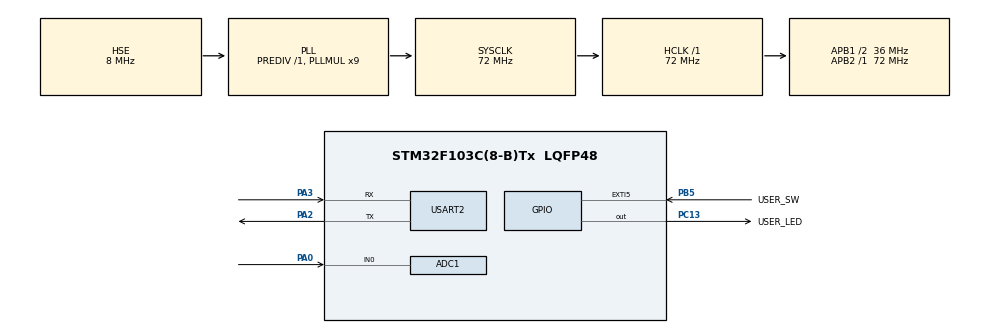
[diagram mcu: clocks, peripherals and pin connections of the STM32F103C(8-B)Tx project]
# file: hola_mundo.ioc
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ADC1.Channel-0\#ChannelRegularConversion=ADC_CHANNEL_0
ADC1.Channel-1\#ChannelRegularConversion=ADC_CHANNEL_TEMPSENSOR
ADC1.ContinuousConvMode=DISABLE
ADC1.DataAlign=ADC_DATAALIGN_RIGHT
ADC1.DiscontinuousConvMode=DISABLE
ADC1.EnableAnalogWatchDog=false
ADC1.EnableRegularConversion=ENABLE
ADC1.ExternalTrigConv=ADC_SOFTWARE_START
ADC1.InjNumberOfConversion=0
ADC1.NbrOfConversion=2
ADC1.NbrOfConversionFlag=1
ADC1.Rank-0\#ChannelRegularConversion=1
ADC1.Rank-1\#ChannelRegularConversion=2
ADC1.SamplingTime-0\#ChannelRegularConversion=ADC_SAMPLETIME_28CYCLES_5
ADC1.SamplingTime-1\#ChannelRegularConversion=ADC_SAMPLETIME_55CYCLES_5
ADC1.ScanConvMode=ADC_SCAN_ENABLE
ADC1.master=1
Dma.ADC1.0.Direction=DMA_PERIPH_TO_MEMORY
Dma.ADC1.0.Instance=DMA1_Channel1
Dma.ADC1.0.MemDataAlignment=DMA_MDATAALIGN_WORD
Dma.ADC1.0.MemInc=DMA_MINC_ENABLE
Dma.ADC1.0.Mode=DMA_NORMAL
Dma.ADC1.0.PeriphDataAlignment=DMA_PDATAALIGN_HALFWORD
Dma.ADC1.0.PeriphInc=DMA_PINC_DISABLE
Dma.ADC1.0.Priority=DMA_PRIORITY_LOW
Dma.Request0=ADC1
Mcu.Family=STM32F1
Mcu.Name=STM32F103C(8-B)Tx
Mcu.Package=LQFP48
NVIC.ADC1_2_IRQn=true\:0\:0\:false\:false\:true\:true
NVIC.DMA1_Channel1_IRQn=true\:0\:0\:false\:false\:true\:false
NVIC.EXTI9_5_IRQn=true\:0\:0\:false\:false\:true\:true
NVIC.PriorityGroup=NVIC_PRIORITYGROUP_4
PA0-WKUP.Signal=ADCx_IN0
PA13.Mode=Serial_Wire
PA13.Signal=SYS_JTMS-SWDIO
PA14.Mode=Serial_Wire
PA14.Signal=SYS_JTCK-SWCLK
PA2.Mode=Asynchronous
PA2.Signal=USART2_TX
PA3.Mode=Asynchronous
PA3.Signal=USART2_RX
PB5.GPIO_Label=USER_SW
PB5.GPIO_ModeDefaultEXTI=GPIO_MODE_IT_FALLING
PB5.GPIO_PuPd=GPIO_PULLDOWN
PB5.Signal=GPXTI5
PC13-TAMPER-RTC.GPIO_Label=USER_LED
PC13-TAMPER-RTC.GPIO_ModeDefaultOutputPP=GPIO_MODE_OUTPUT_PP
PC13-TAMPER-RTC.PinState=GPIO_PIN_RESET
PC13-TAMPER-RTC.Signal=GPIO_Output
PD0-OSC_IN.Mode=HSE-External-Oscillator
PD0-OSC_IN.Signal=RCC_OSC_IN
PD1-OSC_OUT.Mode=HSE-External-Oscillator
PD1-OSC_OUT.Signal=RCC_OSC_OUT
ProjectManager.HeapSize=0x200
ProjectManager.StackSize=0x400
ProjectManager.TargetToolchain=MDK-ARM V5
RCC.ADCPresc=RCC_ADCPCLK2_DIV6
RCC.AHBFreq_Value=72000000
RCC.APB1CLKDivider=RCC_HCLK_DIV2
RCC.APB1Freq_Value=36000000
RCC.APB1TimFreq_Value=72000000
RCC.APB2Freq_Value=72000000
RCC.APB2TimFreq_Value=72000000
RCC.HCLKFreq_Value=72000000
RCC.PLLMUL=RCC_PLL_MUL9
RCC.PLLSourceVirtual=RCC_PLLSOURCE_HSE
RCC.SYSCLKFreq_VALUE=72000000
RCC.SYSCLKSource=RCC_SYSCLKSOURCE_PLLCLK
RCC.USBFreq_Value=72000000
SH.ADCx_IN0.0=ADC1_IN0,IN0
USART2.VirtualMode=VM_ASYNC
VP_ADC1_TempSens_Input.Mode=IN-TempSens
board=hola_mundo

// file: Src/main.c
/**
  ******************************************************************************
  * File Name          : main.c
  * Description        : Main program body
  ******************************************************************************
  ** This notice applies to any and all portions of this file
  * that are not between comment pairs USER CODE BEGIN and
  * USER CODE END. Other portions of this file, whether
  * inserted by the user or by software development tools
  * are owned by their respective copyright owners.
  *
  * COPYRIGHT(c) 2017 STMicroelectronics
  *
  * Redistribution and use in source and binary forms, with or without modification,
  * are permitted provided that the following conditions are met:
  *   1. Redistributions of source code must retain the above copyright notice,
  *      this list of conditions and the following disclaimer.
  *   2. Redistributions in binary form must reproduce the above copyright notice,
  *      this list of conditions and the following disclaimer in the documentation
  *      and/or other materials provided with the distribution.
  *   3. Neither the name of STMicroelectronics nor the names of its contributors
  *      may be used to endorse or promote products derived from this software
  *      without specific prior written permission.
  *
  * THIS SOFTWARE IS PROVIDED BY THE COPYRIGHT HOLDERS AND CONTRIBUTORS "AS IS"
  * AND ANY EXPRESS OR IMPLIED WARRANTIES, INCLUDING, BUT NOT LIMITED TO, THE
  * IMPLIED WARRANTIES OF MERCHANTABILITY AND FITNESS FOR A PARTICULAR PURPOSE ARE
  * DISCLAIMED. IN NO EVENT SHALL THE COPYRIGHT HOLDER OR CONTRIBUTORS BE LIABLE
  * FOR ANY DIRECT, INDIRECT, INCIDENTAL, SPECIAL, EXEMPLARY, OR CONSEQUENTIAL
  * DAMAGES (INCLUDING, BUT NOT LIMITED TO, PROCUREMENT OF SUBSTITUTE GOODS OR
  * SERVICES; LOSS OF USE, DATA, OR PROFITS; OR BUSINESS INTERRUPTION) HOWEVER
  * CAUSED AND ON ANY THEORY OF LIABILITY, WHETHER IN CONTRACT, STRICT LIABILITY,
  * OR TORT (INCLUDING NEGLIGENCE OR OTHERWISE) ARISING IN ANY WAY OUT OF THE USE
  * OF THIS SOFTWARE, EVEN IF ADVISED OF THE POSSIBILITY OF SUCH DAMAGE.
  *
  ******************************************************************************
  */
#include "main.h"
#include "stm32f1xx_hal.h"
#include "adc.h"
#include "dma.h"
#include "usart.h"
#include "gpio.h"

/* USER CODE BEGIN PV */
/* Private variables ---------------------------------------------------------*/
// incluimos simbolos de otros archivos
extern ADC_HandleTypeDef hadc1;
extern UART_HandleTypeDef huart2;
uint32_t adc_raw[2];  // buffer para almacenar lecturas
uint32_t poten;
uint32_t temp;

volatile uint8_t flag = 0;
/* USER CODE END PV */

void SystemClock_Config(void);

/* USER CODE BEGIN PFP */
/* Private function prototypes -----------------------------------------------*/

/* USER CODE END PFP */

int main(void)
{

  /* USER CODE BEGIN 1 */
  GPIO_PinState anterior = 0;
  GPIO_PinState estado_led = 0;
  /* USER CODE END 1 */

  /* MCU Configuration----------------------------------------------------------*/

  /* Reset of all peripherals, Initializes the Flash interface and the Systick. */
  HAL_Init();

  /* Configure the system clock */
  SystemClock_Config();

  /* Initialize all configured peripherals */
  MX_GPIO_Init();
  MX_DMA_Init();
  MX_ADC1_Init();
  MX_USART2_UART_Init();

  /* Infinite loop */
  while (1)
  {

  /* USER CODE BEGIN 3 */

    HAL_ADC_Start_DMA(&hadc1, (uint32_t *)adc_raw, 2);// inicio el adc con DMA
    while(!flag)    // esperamos que termine la conversión
    {

    }
    HAL_ADC_Stop_DMA(&hadc1);   // detenemos el stream DMA
    flag = 0;                   // reseteamos flag
    poten = adc_raw[0];
    temp = adc_raw[1];
    HAL_UART_Transmit(&huart2, (uint8_t * )(poten >> 4), 1, 100);

    if(poten > 2048)
    {
      HAL_GPIO_WritePin(USER_LED_GPIO_Port, USER_LED_Pin, GPIO_PIN_SET);
    }
    else
    {
      HAL_GPIO_WritePin(USER_LED_GPIO_Port, USER_LED_Pin, GPIO_PIN_RESET);
    }
  }
  /* USER CODE END 3 */

}

/** System Clock Configuration
*/
void SystemClock_Config(void)
{

  RCC_OscInitTypeDef RCC_OscInitStruct;
  RCC_ClkInitTypeDef RCC_ClkInitStruct;
  RCC_PeriphCLKInitTypeDef PeriphClkInit;

    /**Initializes the CPU, AHB and APB busses clocks
    */
  RCC_OscInitStruct.OscillatorType = RCC_OSCILLATORTYPE_HSE;
  RCC_OscInitStruct.HSEState = RCC_HSE_ON;
  RCC_OscInitStruct.HSEPredivValue = RCC_HSE_PREDIV_DIV1;
  RCC_OscInitStruct.HSIState = RCC_HSI_ON;
  RCC_OscInitStruct.PLL.PLLState = RCC_PLL_ON;
  RCC_OscInitStruct.PLL.PLLSource = RCC_PLLSOURCE_HSE;
  RCC_OscInitStruct.PLL.PLLMUL = RCC_PLL_MUL9;
  if (HAL_RCC_OscConfig(&RCC_OscInitStruct) != HAL_OK)
  {
    _Error_Handler(__FILE__, __LINE__);
  }

    /**Initializes the CPU, AHB and APB busses clocks
    */
  RCC_ClkInitStruct.ClockType = RCC_CLOCKTYPE_HCLK|RCC_CLOCKTYPE_SYSCLK
                              |RCC_CLOCKTYPE_PCLK1|RCC_CLOCKTYPE_PCLK2;
  RCC_ClkInitStruct.SYSCLKSource = RCC_SYSCLKSOURCE_PLLCLK;
  RCC_ClkInitStruct.AHBCLKDivider = RCC_SYSCLK_DIV1;
  RCC_ClkInitStruct.APB1CLKDivider = RCC_HCLK_DIV2;
  RCC_ClkInitStruct.APB2CLKDivider = RCC_HCLK_DIV1;

  if (HAL_RCC_ClockConfig(&RCC_ClkInitStruct, FLASH_LATENCY_2) != HAL_OK)
  {
    _Error_Handler(__FILE__, __LINE__);
  }

  PeriphClkInit.PeriphClockSelection = RCC_PERIPHCLK_ADC;
  PeriphClkInit.AdcClockSelection = RCC_ADCPCLK2_DIV6;
  if (HAL_RCCEx_PeriphCLKConfig(&PeriphClkInit) != HAL_OK)
  {
    _Error_Handler(__FILE__, __LINE__);
  }

    /**Configure the Systick interrupt time
    */
  HAL_SYSTICK_Config(HAL_RCC_GetHCLKFreq()/1000);

    /**Configure the Systick
    */
  HAL_SYSTICK_CLKSourceConfig(SYSTICK_CLKSOURCE_HCLK);

  /* SysTick_IRQn interrupt configuration */
  HAL_NVIC_SetPriority(SysTick_IRQn, 0, 0);
}

/* USER CODE BEGIN 4 */
void HAL_GPIO_EXTI_Callback(uint16_t GPIO_Pin)
{
  /*
  if(GPIO_Pin == USER_SW_Pin)
  {
    HAL_GPIO_TogglePin(USER_LED_GPIO_Port, USER_LED_Pin);
  }
  */
}

void HAL_ADC_ConvCpltCallback(ADC_HandleTypeDef* hadc)
{
  flag = 1;
}
/* USER CODE END 4 */

void _Error_Handler(char * file, int line)
{
  while(1)
  {
  }
}

/************************ (C) COPYRIGHT STMicroelectronics *****END OF FILE****/
